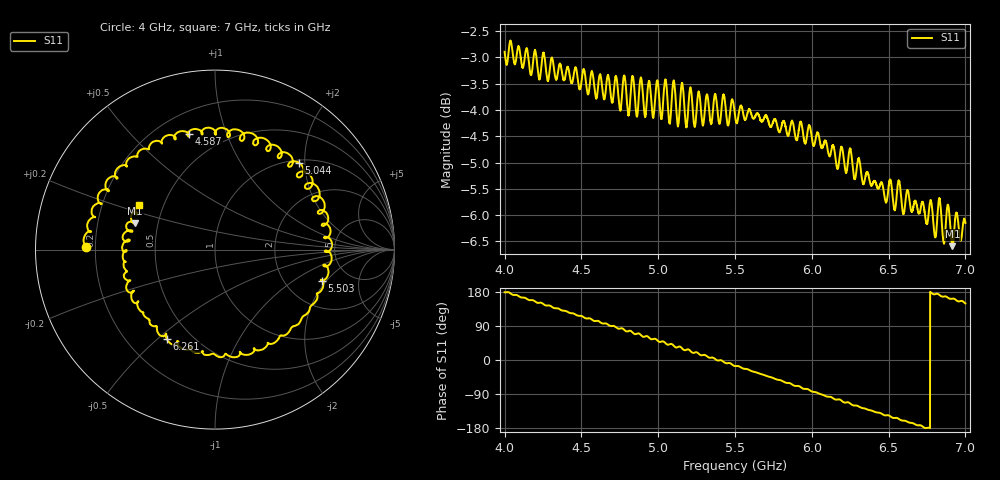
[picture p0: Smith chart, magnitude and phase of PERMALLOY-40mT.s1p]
#  HZ  S  RI  R  50.0
! Rohde & Schwarz ZVL13 2Ports - Version 3.31 - 1303.6509k13 SN: 101088
! Date: 2023-03-03 14:38:06
! Data & Calibration Information:
! Trc2:S21(TOSM)
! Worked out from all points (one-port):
!   4000 points, 4 GHz to 7 GHz, reference 50 ohm
!   lowest |S11| = -6.6 dB at 6.916 GHz (marker M1), VSWR 2.76, Z = 18.5 + j6.93 ohm
!   |S11| at or under -10 dB: nowhere
!   S11 on the Smith chart (normalised r, x): 4 GHz: 0.17, +0.01; 4.587 GHz: 0.33, +0.75; 5.044 GHz: 1.05, +1.86; 5.503 GHz: 3.17, -1.77; 6.261 GHz: 0.37, -0.54; 7 GHz: 0.36, +0.24
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4e9  -0.7164 0.0157
4.024006e9  -0.7123 0.0116
4.194299e9  -0.653 0.2966
4.375094e9  -0.4433 0.5195
4.51838e9  -0.258 0.6382
4.586647e9  -0.145 0.6426
4.674419e9  -0.0349 0.6798
4.750188e9  0.0781 0.6278
4.777194e9  0.1158 0.67
4.883721e9  0.2612 0.6231
5.043511e9  0.4657 0.485
5.125281e9  0.5098 0.3386
5.16129e9  0.5829 0.3126
5.186047e9  0.5405 0.2813
5.213803e9  0.6112 0.2479
5.31958e9  0.6441 0.1018
5.500375e9  0.5984 -0.1738
5.503376e9  0.5939 -0.1722
5.645911e9  0.52 -0.3477
5.875469e9  0.2533 -0.5593
6.03976e9  0.0294 -0.5988
6.250563e9  -0.2438 -0.5256
6.261065e9  -0.267 -0.5001
6.461365e9  -0.4304 -0.3181
6.625656e9  -0.5077 -0.1472
6.829707e9  -0.5143 0.0723
6.915979e9  -0.4449 0.1461
7e9  -0.424 0.2508
